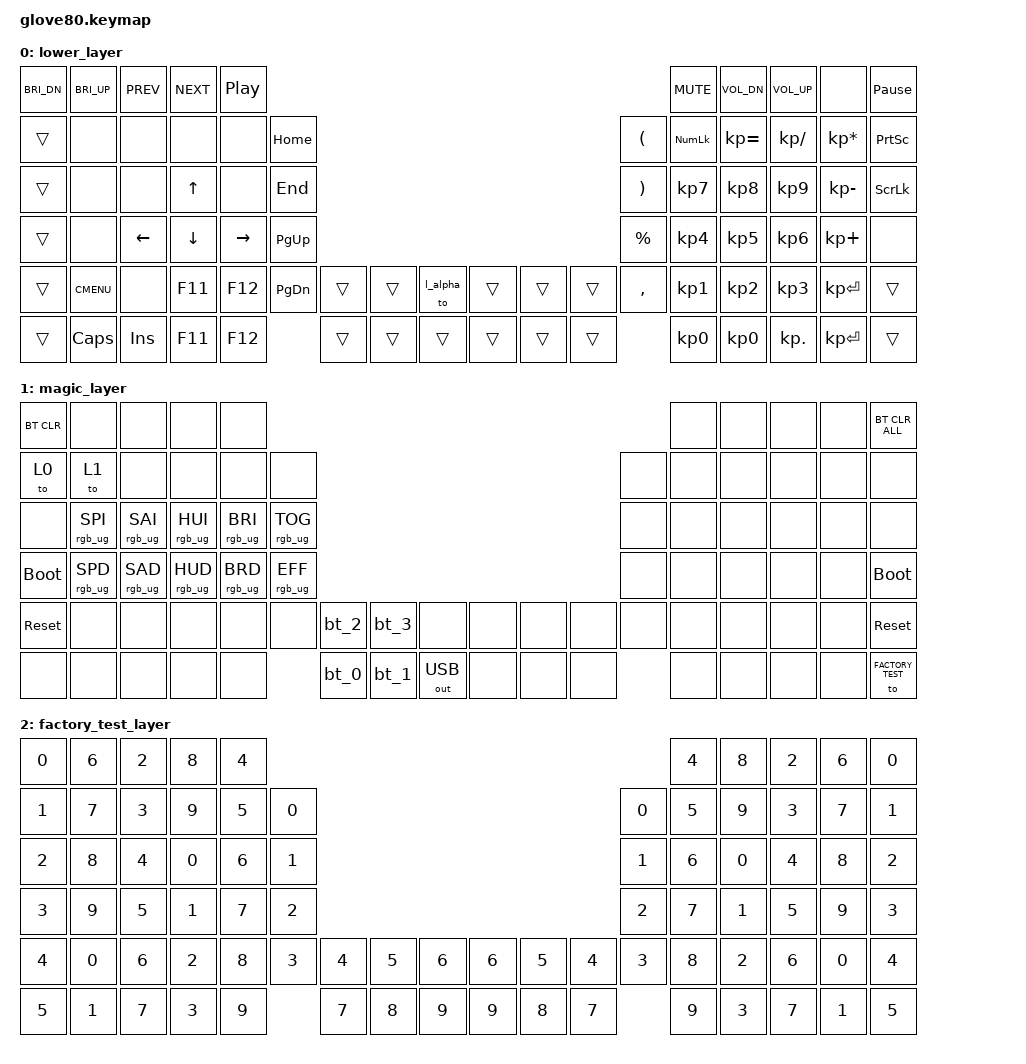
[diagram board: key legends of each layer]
#include <behaviors.dtsi>
#include <dt-bindings/zmk/keys.h>
#include <dt-bindings/zmk/bt.h>
#include <dt-bindings/zmk/ext_power.h>
#include <dt-bindings/zmk/outputs.h>
#include <dt-bindings/zmk/rgb.h>

#include "handsdown/config.h"

/ {
	#include "handsdown/behaviors.dtsi"
	#include "handsdown/macros.dtsi"
	#include "handsdown/combos.dtsi"
	
	keymap {
		compatible = "zmk,keymap";
		#include "handsdown/glove.alpha.HD-neu.dtsi"// base (alpha) layer (& related adaptive layers)
		#include "handsdown/glove.layers.dtsi"// all other (common) layers (shouldn't vary)
		lower_layer {
			bindings = <
			&kp C_BRI_DN      &kp C_BRI_UP        &kp C_PREV      &kp C_NEXT      &kp C_PP                                                                                                           &kp C_MUTE   &kp C_VOL_DN &kp C_VOL_UP  &none           &kp PAUSE_BREAK
			&trans            &none               &none           &none           &none           &kp HOME                                                                              &kp LPAR     &kp KP_NUM   &kp KP_EQUAL &kp KP_DIVIDE &kp KP_MULTIPLY &kp PSCRN
			&trans            &none               &none           &kp UP          &none           &kp END                                                                               &kp RPAR     &kp KP_N7    &kp KP_N8    &kp KP_N9     &kp KP_MINUS    &kp SLCK
			&trans            &none               &kp LEFT        &kp DOWN        &kp RIGHT       &kp PG_UP                                                                             &kp PRCNT    &kp KP_N4    &kp KP_N5    &kp KP_N6     &kp KP_PLUS     &none
			&trans            &kp K_CMENU         &none           &kp F11         &kp F12         &kp PG_DN       &trans      &trans      &to l_alpha &trans      &trans      &trans    &kp COMMA    &kp KP_N1    &kp KP_N2    &kp KP_N3     &kp KP_ENTER    &trans
			&trans            &kp CAPS            &kp INS         &kp F11         &kp F12                         &trans      &trans      &trans      &trans      &trans      &trans                 &kp KP_N0    &kp KP_N0    &kp KP_DOT    &kp KP_ENTER    &trans
			>;
		};
		
		magic_layer {
			bindings = <
			&bt BT_CLR        &none               &none           &none           &none                                                                                                           &none      &none      &none      &none      &bt BT_CLR_ALL
			&to 0             &to 1               &none           &none           &none           &none                                                                                &none      &none      &none      &none      &none      &none
			&none             &rgb_ug RGB_SPI     &rgb_ug RGB_SAI &rgb_ug RGB_HUI &rgb_ug RGB_BRI &rgb_ug RGB_TOG                                                                      &none      &none      &none      &none      &none      &none
			&bootloader       &rgb_ug RGB_SPD     &rgb_ug RGB_SAD &rgb_ug RGB_HUD &rgb_ug RGB_BRD &rgb_ug RGB_EFF                                                                      &none      &none      &none      &none      &none      &bootloader
			&sys_reset        &none               &none           &none           &none           &none           &bt_2     &bt_3     &none            &none     &none     &none       &none      &none      &none      &none      &none      &sys_reset
			&none             &none               &none           &none           &none                           &bt_0     &bt_1     &out OUT_USB     &none     &none     &none                  &none      &none      &none      &none      &to FACTORY_TEST
			>;
		};
		
		factory_test_layer {
			bindings = <
			&kp N0   &kp N6   &kp N2   &kp N8   &kp N4                                                                              &kp N4   &kp N8   &kp N2   &kp N6   &kp N0
			&kp N1   &kp N7   &kp N3   &kp N9   &kp N5   &kp N0                                                            &kp N0   &kp N5   &kp N9   &kp N3   &kp N7   &kp N1
			&kp N2   &kp N8   &kp N4   &kp N0   &kp N6   &kp N1                                                            &kp N1   &kp N6   &kp N0   &kp N4   &kp N8   &kp N2
			&kp N3   &kp N9   &kp N5   &kp N1   &kp N7   &kp N2                                                            &kp N2   &kp N7   &kp N1   &kp N5   &kp N9   &kp N3
			&kp N4   &kp N0   &kp N6   &kp N2   &kp N8   &kp N3   &kp N4   &kp N5   &kp N6      &kp N6   &kp N5   &kp N4   &kp N3   &kp N8   &kp N2   &kp N6   &kp N0   &kp N4
			&kp N5   &kp N1   &kp N7   &kp N3   &kp N9            &kp N7   &kp N8   &kp N9      &kp N9   &kp N8   &kp N7            &kp N9   &kp N3   &kp N7   &kp N1   &kp N5
			>;
		};
	};
};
